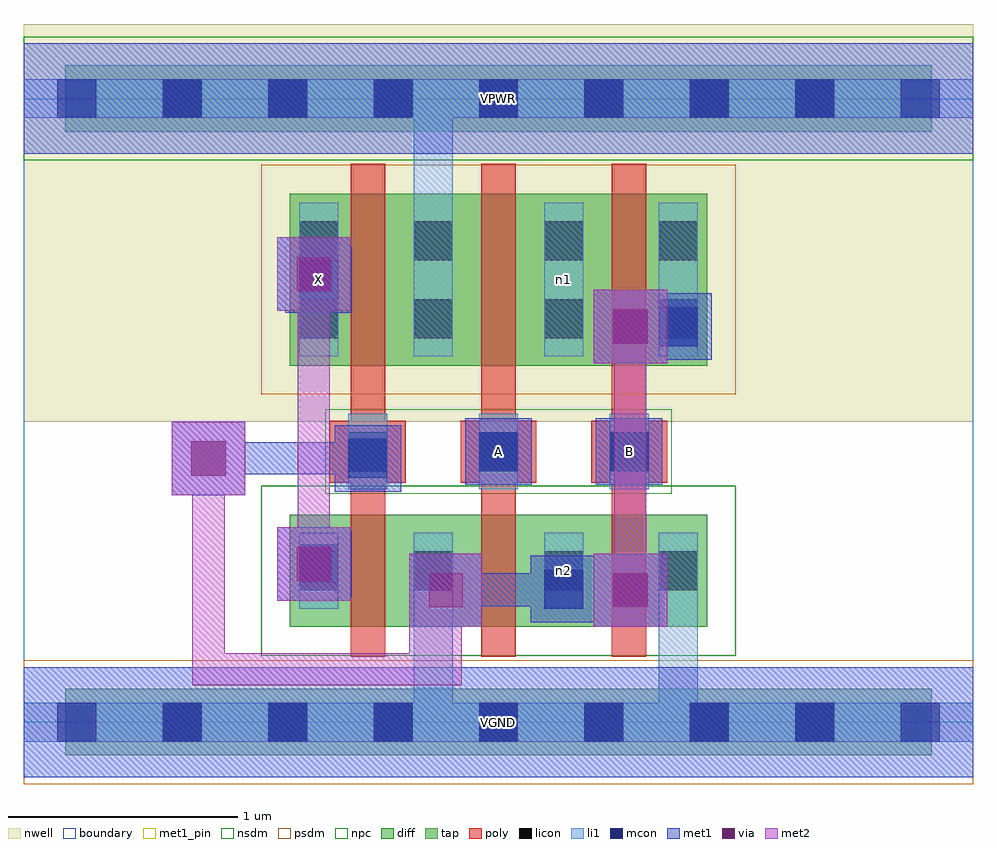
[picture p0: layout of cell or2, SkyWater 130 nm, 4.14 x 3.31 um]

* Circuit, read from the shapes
.subckt or2 A B VGND VPWR X n1 n2
XM1 VGND n2 X VGND sky130_fd_pr__nfet_01v8 w=0.49 l=0.15
XM2 n2 A VGND VGND sky130_fd_pr__nfet_01v8 w=0.49 l=0.15
XM3 VGND B n2 VGND sky130_fd_pr__nfet_01v8 w=0.49 l=0.15
XM4 VPWR n2 X VPWR sky130_fd_pr__pfet_01v8 w=0.75 l=0.15
XM5 n1 A VPWR VPWR sky130_fd_pr__pfet_01v8 w=0.75 l=0.15
XM6 n2 B n1 VPWR sky130_fd_pr__pfet_01v8 w=0.75 l=0.15
.ends

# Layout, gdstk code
import gdstk
lib = gdstk.Library(unit=1e-6, precision=1e-09)
def R(c, l, rs):  # rectangles x0, y0, x1, y1
    for r in rs: c.add(gdstk.rectangle(r[:2], r[2:], *l))
def A(c, l, x, y, w, h, nx, ny, dx, dy):  # array of equal rectangles
    R(c, l, [(x+i*dx, y+j*dy, x+i*dx+w, y+j*dy+h) for i in range(nx) for j in range(ny)])
nwell = (64, 20)
diff = (65, 20)
tap = (65, 44)
poly = (66, 20)
licon = (66, 44)
li1 = (67, 20)
mcon = (67, 44)
met1_pin = (68, 16)
met1 = (68, 20)
via = (68, 44)
met2 = (69, 20)
nsdm = (93, 44)
psdm = (94, 20)
npc = (95, 20)
boundary = (235, 4)

or2 = lib.new_cell('or2')
R(or2, nwell, [(0,1.31,4.14,3.045)])
R(or2, diff, [(1.16,0.415,2.98,0.905), (1.16,1.555,2.98,2.305)])
R(or2, tap, [(0.18,-0.145,3.96,0.145), (0.18,2.575,3.96,2.865)])
A(or2, poly, 1.425, 0.285, 0.15, 2.15, 3, 1, 0.57, 0)
A(or2, poly, 1.335, 1.045, 0.33, 0.27, 3, 1, 0.57, 0)
A(or2, licon, 0.605, -0.085, 0.17, 0.17, 7, 2, 0.46, 2.72)
A(or2, licon, 1.415, 1.095, 0.17, 0.17, 3, 1, 0.57, 0)
R(or2, licon, [(1.2,0.575,1.37,0.745), (1.7,0.575,1.87,0.745), (2.27,0.575,2.44,0.745), (2.77,0.575,2.94,0.745), (1.2,1.675,1.37,1.845), (1.7,1.675,1.87,1.845), (2.27,1.675,2.44,1.845), (2.77,1.675,2.94,1.845), (1.2,2.015,1.37,2.185), (1.7,2.015,1.87,2.185), (2.27,2.015,2.44,2.185), (2.77,2.015,2.94,2.185)])
A(or2, li1, 1.415, 1.015, 0.17, 0.33, 3, 1, 0.57, 0)
R(or2, li1, [(0,-0.085,4.14,0.085), (1.7,-0.085,1.87,0.825), (2.77,-0.085,2.94,0.825), (1.2,0.495,1.37,0.825), (1.7,0.495,1.87,0.825), (2.27,0.495,2.44,0.825), (2.77,0.495,2.94,0.825), (1.2,1.595,1.37,2.265), (1.7,1.595,1.87,2.265), (1.7,1.595,1.87,2.805), (2.27,1.595,2.44,2.265), (2.77,1.595,2.94,2.265), (0,2.635,4.14,2.805)])
A(or2, mcon, 0.145, -0.085, 0.17, 0.17, 9, 2, 0.46, 2.72)
R(or2, mcon, [(2.27,0.495,2.44,0.665), (1.2,0.605,1.37,0.775), (1.415,1.065,1.585,1.235), (1.985,1.095,2.155,1.265), (2.555,1.095,2.725,1.265), (2.77,1.64,2.94,1.81), (1.2,1.845,1.37,2.015)])
R(or2, met1_pin, [(0,-0.24,4.14,0.24), (1.925,1.035,2.215,1.325), (2.495,1.035,2.785,1.325), (1.14,1.785,1.43,2.075), (0,2.48,4.14,2.96)])
R(or2, met1, [(0,-0.24,4.14,0.24), (1.68,0.415,2,0.735), (2.485,0.415,2.805,0.735), (2.21,0.435,2.5,0.725), (1.77,0.505,2.255,0.645), (2,0.505,2.115,0.65), (2.115,0.505,2.255,0.65), (2.115,0.505,2.715,0.645), (2,0.51,2.115,0.65), (2.115,0.51,2.425,0.65), (1.105,0.53,1.425,0.85), (1.14,0.545,1.43,0.835), (1.195,0.62,1.355,0.76), (0.645,0.99,0.965,1.31), (1.355,1.005,1.645,1.295), (1.925,1.035,2.215,1.325), (2.495,1.035,2.785,1.325), (0.735,1.08,1.45,1.22), (1.31,1.08,1.57,1.22), (2.485,1.565,2.805,1.885), (2.71,1.58,3,1.87), (2.575,1.655,2.83,1.795), (2.69,1.655,2.925,1.795), (1.14,1.785,1.43,2.075), (1.105,1.795,1.425,2.115), (1.195,1.885,1.335,2.025), (0,2.48,4.14,2.96)])
R(or2, via, [(1.765,0.5,1.915,0.65), (2.57,0.5,2.72,0.65), (1.19,0.615,1.34,0.765), (0.73,1.075,0.88,1.225), (2.57,1.65,2.72,1.8), (1.19,1.88,1.34,2.03)])
R(or2, met2, [(0.735,0.16,0.875,1.22), (0.735,0.16,1.91,0.3), (1.77,0.16,1.91,0.645), (1.68,0.3,1.91,0.415), (1.68,0.415,2,0.735), (2.485,0.415,2.805,0.735), (2.575,0.505,2.715,1.795), (1.105,0.53,1.425,0.85), (1.195,0.62,1.335,2.025), (0.645,0.99,0.965,1.31), (2.485,1.565,2.805,1.885), (1.105,1.795,1.425,2.115)])
R(or2, nsdm, [(1.035,0.29,3.105,1.03), (0,2.45,4.14,2.99)])
R(or2, psdm, [(0,-0.27,4.14,0.27), (1.035,1.43,3.105,2.43)])
R(or2, npc, [(1.315,0.995,2.825,1.365)])
R(or2, boundary, [(0,0,4.14,2.72)])
or2.add(gdstk.Label('n2', (2.355,0.66), layer=67, texttype=5))
or2.add(gdstk.Label('n1', (2.355,1.93), layer=67, texttype=5))
or2.add(gdstk.Label('A', (2.07,1.18), layer=68, texttype=5))
or2.add(gdstk.Label('B', (2.64,1.18), layer=68, texttype=5))
or2.add(gdstk.Label('X', (1.285,1.93), layer=68, texttype=5))
or2.add(gdstk.Label('VPWR', (2.07,2.72), layer=68, texttype=5))
or2.add(gdstk.Label('VGND', (2.07,0), layer=68, texttype=5))
or2.add(gdstk.Label('A', (2.07,1.18), layer=68, texttype=16))
or2.add(gdstk.Label('B', (2.64,1.18), layer=68, texttype=16))
or2.add(gdstk.Label('X', (1.285,1.93), layer=68, texttype=16))
or2.add(gdstk.Label('VPWR', (2.07,2.72), layer=68, texttype=16))
or2.add(gdstk.Label('VGND', (2.07,0), layer=68, texttype=16))

lib.write_gds('or2.gds')
